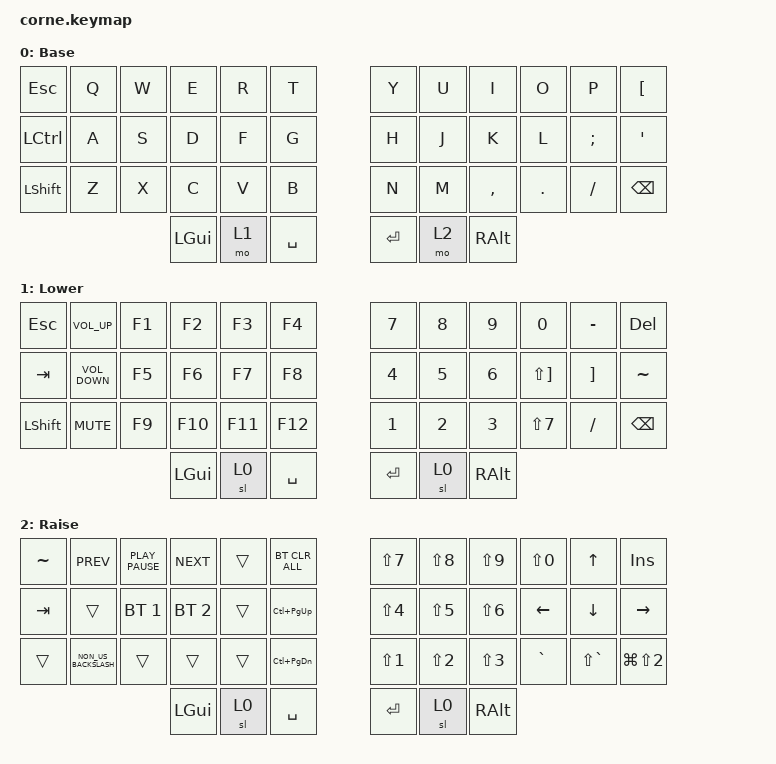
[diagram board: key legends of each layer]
/*
 * Copyright (c) 2020 The ZMK Contributors
 *
 * SPDX-License-Identifier: MIT
 */

#include <behaviors.dtsi>
#include <dt-bindings/zmk/bt.h>
#include <dt-bindings/zmk/keys.h>

/ {
    keymap {
        compatible = "zmk,keymap";

        Base {
            // -----------------------------------------------------------------------------------------
            // |  TAB |  Q  |  W  |  E  |  R  |  T  |   |  Y  |  U   |  I  |  O  |  P  | BKSP |
            // | CTRL |  A  |  S  |  D  |  F  |  G  |   |  H  |  J   |  K  |  L  |  ;  |  '   |
            // | SHFT |  Z  |  X  |  C  |  V  |  B  |   |  N  |  M   |  ,  |  .  |  /  | ESC  |
            //                    | GUI | LWR | SPC |   | ENT | RSE  | ALT |

            label = "Base";
            bindings = <
&kp ESC           &kp Q  &kp W  &kp E         &kp R  &kp T        &kp Y    &kp U  &kp I      &kp O    &kp P     &kp LBKT
&kp LEFT_CONTROL  &kp A  &kp S  &kp D         &kp F  &kp G        &kp H    &kp J  &kp K      &kp L    &kp SEMI  &kp APOS
&kp LEFT_SHIFT    &kp Z  &kp X  &kp C         &kp V  &kp B        &kp N    &kp M  &kp COMMA  &kp DOT  &kp FSLH  &kp BACKSPACE
                                &kp LEFT_GUI  &mo 1  &kp SPACE    &kp RET  &mo 2  &kp RALT
            >;
        };

        Lower {
            // -----------------------------------------------------------------------------------------
            // |  TAB |  1  |  2  |  3  |  4  |  5  |   |  6  |  7  |  8  |  9  |  0  | BKSP |
            // | BTCLR| BT1 | BT2 | BT3 | BT4 | BT5 |   | LFT | DWN |  UP | RGT |     |      |
            // | SHFT |     |     |     |     |     |   |     |     |     |     |     |      |
            //                    | GUI |     | SPC |   | ENT |     | ALT |

            label = "Lower";
            bindings = <
&kp ESC         &kp C_VOL_UP       &kp F1  &kp F2    &kp F3   &kp F4       &kp N7   &kp N8  &kp N9    &kp N0                 &kp MINUS          &kp DELETE
&kp TAB         &kp C_VOLUME_DOWN  &kp F5  &kp F6    &kp F7   &kp F8       &kp N4   &kp N5  &kp N6    &kp LS(RIGHT_BRACKET)  &kp RIGHT_BRACKET  &kp TILDE
&kp LEFT_SHIFT  &kp K_MUTE         &kp F9  &kp F10   &kp F11  &kp F12      &kp N1   &kp N2  &kp N3    &kp LS(NUMBER_7)       &kp SLASH          &kp BACKSPACE
                                           &kp LGUI  &sl 0    &kp SPACE    &kp RET  &sl 0   &kp RALT
            >;
        };

        Raise {
            // -----------------------------------------------------------------------------------------
            // |  TAB |  !  |  @  |  #  |  $  |  %  |   |  ^  |  &  |  *  |  (  |  )  | BKSP |
            // | CTRL |     |     |     |     |     |   |  -  |  =  |  [  |  ]  |  \  |  `   |
            // | SHFT |     |     |     |     |     |   |  _  |  +  |  {  |  }  | "|" |  ~   |
            //                    | GUI |     | SPC |   | ENT |     | ALT |

            label = "Raise";
            bindings = <
&kp TILDE  &kp K_PREV            &kp K_PLAY_PAUSE  &kp K_NEXT    &trans  &bt BT_CLR_ALL       &kp LS(N7)        &kp LS(N8)  &kp LS(N9)  &kp LS(N0)  &kp UP         &kp INS
&kp TAB    &trans                &bt BT_SEL 1      &bt BT_SEL 2  &trans  &kp LC(PAGE_UP)      &kp LS(N4)        &kp LS(N5)  &kp LS(N6)  &kp LEFT    &kp DOWN       &kp RIGHT
&trans     &kp NON_US_BACKSLASH  &trans            &trans        &trans  &kp LC(PAGE_DOWN)    &kp LS(NUMBER_1)  &kp LS(N2)  &kp LS(N3)  &kp GRAVE   &kp LS(GRAVE)  &kp LG(LS(NUMBER_2))
                                                   &kp LGUI      &sl 0   &kp SPACE            &kp RET           &sl 0       &kp RALT
            >;
        };
    };
};

&nice_view_spi { cs-gpios = <&pro_micro 0 GPIO_ACTIVE_HIGH>; };
